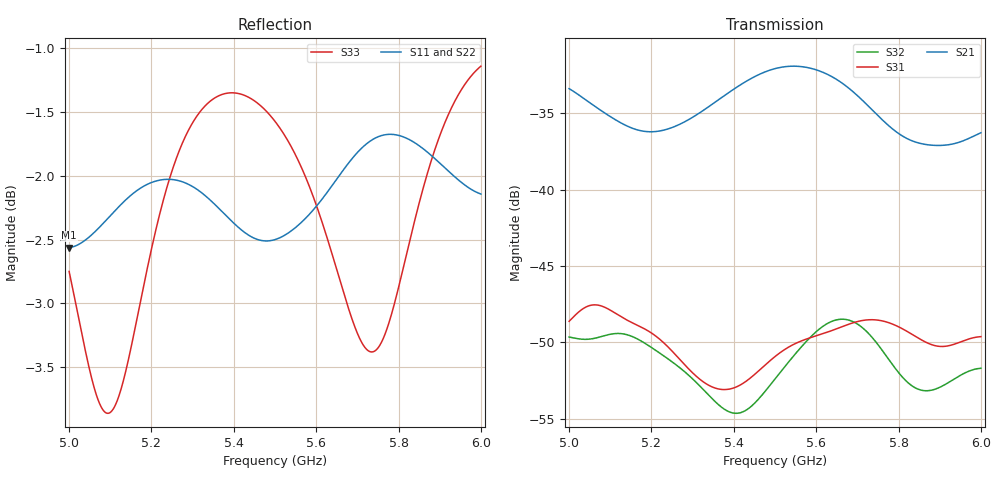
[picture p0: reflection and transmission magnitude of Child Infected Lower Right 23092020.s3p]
! TOUCHSTONE file generated by CST MICROWAVE STUDIO
! Date and time: Sat Sep 26 14:46:00 2020
! Project name: Child Lung Lower Right.cst
! Header version: 2018
! Port assignment regex: !\s*Touchstone port\s*([0-9]+)\s*=\s*(CST MWS port|CST DS port)\s*([0-9]+|Zmin|Zmax)\s*\(\"(.*)\"\)(\s*mode\s*([0-9]+))?.*
! Touchstone port assignment:
! Touchstone port 1 = CST MWS port 1 ("")
! Touchstone port 2 = CST MWS port 2 ("")
! Touchstone port 3 = CST MWS port 3 ("")
# GHz S RI R 50
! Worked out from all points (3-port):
!   1001 points, 5 GHz to 6 GHz, reference 50 ohm
!   strongest paths, dB at 5 GHz, 5.25 GHz, 5.5 GHz, 5.75 GHz, 6 GHz:
!     S21: -33.4, -35.9, -32.1, -35.2, -36.3
!     S31: -48.6, -50.6, -50.9, -48.5, -49.6
!     S32: -49.7, -51.3, -52.4, -50.1, -51.7
!   lowest |S11| = -2.6 dB at 5 GHz (marker M1), VSWR 6.82, Z = 339 - j29 ohm
!   |S11| at or under -10 dB: nowhere
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5  0.7441 -0.0191  0.00901 0.0194  -2.65e-05 -0.00372
   0.00901 0.0194  0.7423 -0.0272  -0.00135 -0.003
   -3.39e-05 -0.00371  -0.00135 -0.003  0.7182 -0.1229
5.098  0.7655 0.014  0.0174 -0.000608  -0.00403 0.000219
       0.0174 -0.000608  0.7579 0.0122  -0.00325 0.00085
       -0.00404 0.000222  -0.00325 0.00085  0.6412 -0.000402
5.205  0.79 0.00953  0.00731 -0.0136  0.000221 0.00335
       0.00731 -0.0136  0.7849 0.0161  0.000998 0.00284
       0.000219 0.00335  0.000999 0.00284  0.7416 0.1097
5.328  0.7808 -0.00941  -0.012 -0.0137  0.00234 -8.37e-05
       -0.012 -0.0137  0.7853 -0.000938  0.002 -0.000921
       0.00234 -8.26e-05  0.002 -0.000922  0.8429 0.0655
5.396  0.7621 -0.0057  -0.0211 -0.00164  0.00172 -0.00142
       -0.0211 -0.00164  0.7726 -0.0021  0.000809 -0.00167
       0.00172 -0.00142  0.000809 -0.00167  0.856 0.0221
5.5  0.7493 0.0279  -0.00783 0.0236  -0.000825 -0.00272
     -0.00783 0.0236  0.7567 0.0177  -0.00132 -0.002
     -0.000824 -0.00272  -0.00132 -0.002  0.8337 -0.0352
5.66  0.7937 0.0629  0.0218 -0.00548  -0.00214 0.00283
      0.0218 -0.00548  0.7829 0.0609  -0.000385 0.00375
      -0.00214 0.00283  -0.000384 0.00374  0.7192 -0.0462
5.75  0.8217 0.0431  0.0045 -0.0169  0.00234 0.00292
      0.0045 -0.0169  0.8151 0.0505  0.00307 0.000503
      0.00233 0.00292  0.00307 0.000503  0.6781 0.0495
5.85  0.8162 0.0126  -0.00886 -0.0111  0.00284 -0.00159
      -0.00886 -0.0111  0.8196 0.0219  0.00112 -0.00191
      0.00284 -0.00159  0.00112 -0.00191  0.7637 0.1315
6  0.7811 0.0201  -0.0132 0.00784  -0.00236 -0.00232
   -0.0132 0.00784  0.7917 0.0155  -0.00252 -0.000641
   -0.00236 -0.00231  -0.00252 -0.000642  0.8739 0.0754
